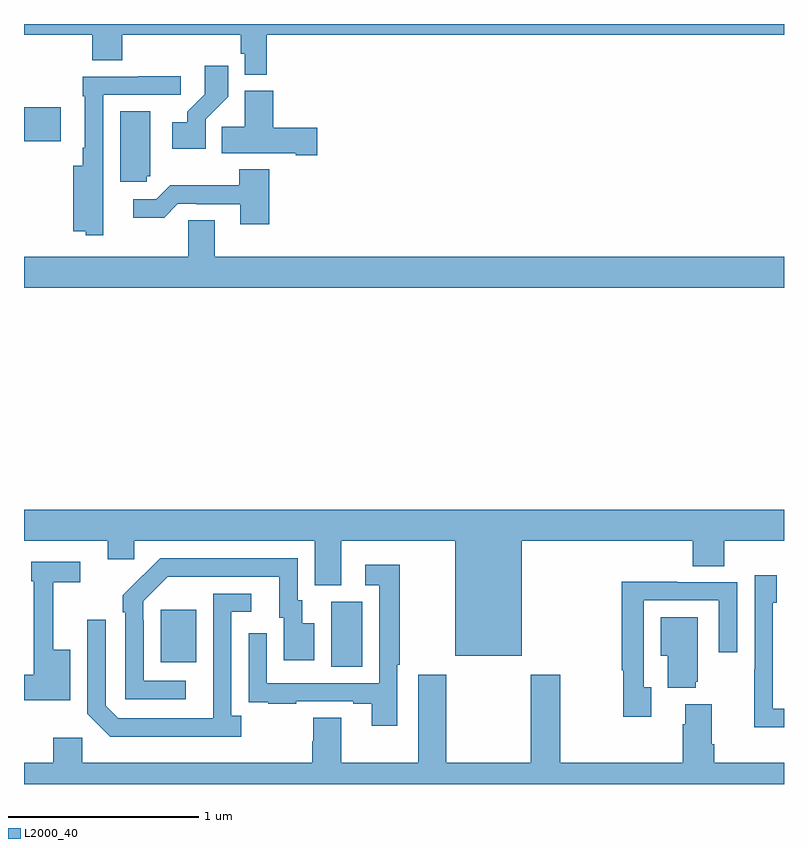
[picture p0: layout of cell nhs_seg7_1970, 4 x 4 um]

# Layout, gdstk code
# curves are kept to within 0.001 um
import gdstk
lib = gdstk.Library(unit=1e-6, precision=1e-09)
def R(c, l, rs):  # rectangles x0, y0, x1, y1
    for r in rs: c.add(gdstk.rectangle(r[:2], r[2:], *l))
def P(c, l, *ps):  # polygons
    for p in ps: c.add(gdstk.Polygon(p, *l))
L2000_40 = (2000, 40)

nhs_seg7_1970 = lib.new_cell('nhs_seg7_1970')
R(nhs_seg7_1970, L2000_40, [(244.616,1002.616,244.78,1002.96), (243.719,1002.641,243.907,1002.916), (243,1005.383,243.193,1005.561)])
P(nhs_seg7_1970, L2000_40, [(244.277,1005.944),(247,1005.944),(247,1006),(243,1006),(243,1005.944),(243.358,1005.944),(243.358,1005.808),(243.518,1005.808),(243.518,1005.944),(244.141,1005.944),(244.141,1005.843),(244.161,1005.843),(244.161,1005.734),(244.277,1005.734)],
  [(243.957,1005.499),(244.076,1005.618),(244.076,1005.781),(243.951,1005.781),(243.951,1005.629),(243.86,1005.539),(243.86,1005.484),(243.78,1005.484),(243.78,1005.344),(243.957,1005.344)],
  [(243.418,1005.149),(243.417,1005.149),(243.417,1005.627),(243.826,1005.627),(243.826,1005.726),(243.601,1005.726),(243.601,1005.723),(243.309,1005.723),(243.309,1005.62),(243.321,1005.62),(243.321,1005.349),(243.309,1005.349),(243.309,1005.253),(243.26,1005.253),(243.26,1004.909),(243.324,1004.909),(243.324,1004.888),(243.418,1004.888)],
  [(244.543,1005.455),(244.313,1005.455),(244.313,1005.649),(244.163,1005.649),(244.163,1005.458),(244.042,1005.458),(244.042,1005.32),(244.43,1005.32),(244.43,1005.308),(244.543,1005.308)],
  [(243.645,1005.198),(243.664,1005.198),(243.664,1005.542),(243.506,1005.542),(243.506,1005.171),(243.645,1005.171)],
  [(244.292,1005.235),(244.132,1005.235),(244.132,1005.151),(243.769,1005.151),(243.696,1005.078),(243.576,1005.078),(243.576,1004.981),(243.737,1004.981),(243.81,1005.054),(243.91,1005.054),(243.91,1005.051),(244.139,1005.051),(244.139,1004.946),(244.292,1004.946)],
  [(247,1004.776),(244.003,1004.776),(244.003,1004.966),(243.864,1004.966),(243.864,1004.776),(243,1004.776),(243,1004.612),(247,1004.612)],
  [(245.62,1003.28),(246.521,1003.28),(246.521,1003.147),(246.686,1003.147),(246.686,1003.28),(247,1003.28),(247,1003.444),(243,1003.444),(243,1003.28),(243.44,1003.28),(243.44,1003.182),(243.579,1003.182),(243.579,1003.28),(244.529,1003.28),(244.529,1003.045),(244.669,1003.045),(244.669,1003.28),(245.27,1003.28),(245.27,1002.674),(245.62,1002.674)],
  [(243.85,1002.543),(243.63,1002.543),(243.63,1002.863),(243.627,1002.863),(243.627,1002.963),(243.756,1003.092),(244.343,1003.092),(244.343,1002.876),(244.367,1002.876),(244.367,1002.651),(244.528,1002.651),(244.528,1002.847),(244.465,1002.847),(244.465,1002.966),(244.44,1002.966),(244.44,1003.188),(243.716,1003.188),(243.519,1002.993),(243.519,1002.905),(243.534,1002.905),(243.534,1002.447),(243.85,1002.447)],
  [(243.244,1002.706),(243.155,1002.706),(243.155,1003.062),(243.295,1003.062),(243.295,1003.17),(243.037,1003.17),(243.037,1003.067),(243.052,1003.067),(243.052,1002.574),(243,1002.574),(243,1002.442),(243.244,1002.442)],
  [(244.965,1002.628),(244.978,1002.628),(244.978,1003.153),(244.797,1003.153),(244.797,1003.047),(244.869,1003.047),(244.869,1002.531),(244.278,1002.531),(244.278,1002.793),(244.182,1002.793),(244.182,1002.538),(244.183,1002.538),(244.183,1002.429),(244.285,1002.429),(244.285,1002.423),(244.433,1002.423),(244.433,1002.435),(244.733,1002.435),(244.733,1002.423),(244.829,1002.423),(244.829,1002.306),(244.965,1002.306)],
  [(247,1002.396),(246.942,1002.396),(246.942,1002.954),(246.961,1002.954),(246.961,1003.099),(246.846,1003.099),(246.846,1002.605),(246.844,1002.605),(246.844,1002.299),(247,1002.299)],
  [(246.301,1002.51),(246.261,1002.51),(246.261,1002.966),(246.657,1002.966),(246.657,1002.693),(246.753,1002.693),(246.753,1003.062),(246.437,1003.062),(246.437,1003.064),(246.145,1003.064),(246.145,1002.598),(246.153,1002.598),(246.153,1002.354),(246.301,1002.354)],
  [(244.144,1002.358),(244.092,1002.358),(244.092,1002.906),(244.195,1002.906),(244.195,1003.002),(243.996,1003.002),(243.995,1002.345),(243.495,1002.345),(243.429,1002.411),(243.429,1002.865),(243.333,1002.865),(243.333,1002.369),(243.454,1002.248),(244.144,1002.248)],
  [(246.536,1002.537),(246.547,1002.537),(246.547,1002.877),(246.35,1002.877),(246.35,1002.674),(246.389,1002.674),(246.389,1002.506),(246.536,1002.506)],
  [(246.619,1002.208),(246.619,1002.421),(246.479,1002.421),(246.479,1002.314),(246.467,1002.314),(246.467,1002.112),(245.823,1002.112),(245.823,1002.574),(245.668,1002.574),(245.668,1002.112),(245.223,1002.112),(245.223,1002.574),(245.075,1002.574),(245.075,1002.112),(244.669,1002.112),(244.669,1002.35),(244.522,1002.35),(244.522,1002.225),(244.517,1002.225),(244.517,1002.112),(243.306,1002.112),(243.306,1002.244),(243.155,1002.244),(243.155,1002.112),(243,1002.112),(243,1002),(247,1002),(247,1002.112),(246.632,1002.112),(246.632,1002.208)])

lib.write_gds('nhs_seg7_1970.gds')
